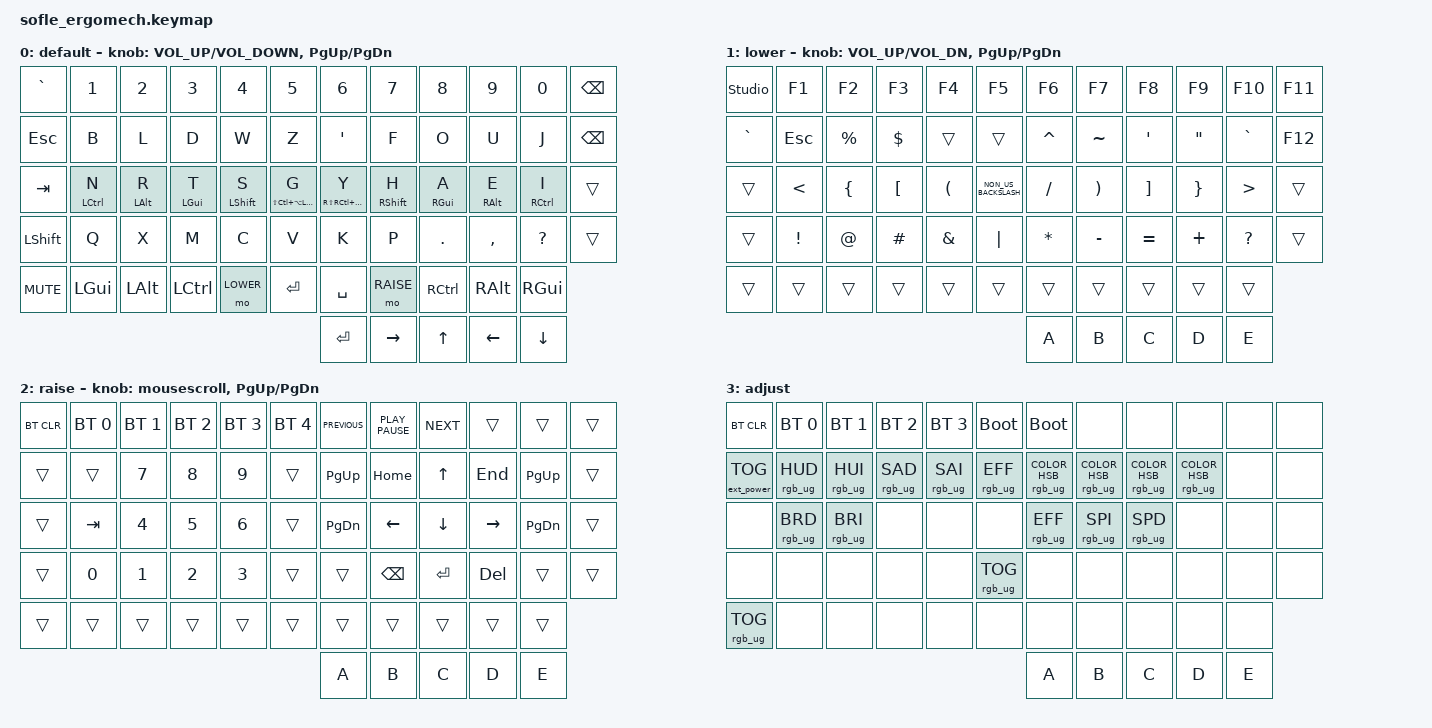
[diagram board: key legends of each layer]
/*
 * Copyright (c) 2020 The ZMK Contributors
 *
 * SPDX-License-Identifier: MIT
 */

#define ZMK_POINTING_DEFAULT_SCRL_VAL 300

#include <behaviors.dtsi>
#include <dt-bindings/zmk/bt.h>
#include <dt-bindings/zmk/ext_power.h>
#include <dt-bindings/zmk/keys.h>
#include <dt-bindings/zmk/pointing.h>
#include <dt-bindings/zmk/rgb.h>

#define BASE 0
#define LOWER 1
#define RAISE 2
#define ADJUST 3

/ {
    // Activate ADJUST layer by pressing raise and lower

    conditional_layers {
        compatible = "zmk,conditional-layers";

        adjust_layer {
            if-layers = <LOWER RAISE>;
            then-layer = <ADJUST>;
        };
    };

    behaviors {
        mousescroll: mousescroll {
            compatible = "zmk,behavior-sensor-rotate";
            #sensor-binding-cells = <0>;
            bindings = <&msc SCRL_UP>, <&msc SCRL_DOWN>;

            tap-ms = <20>;
        };

        hml: homerow_mods_left {
            compatible = "zmk,behavior-hold-tap";
            #binding-cells = <2>;
            flavor = "balanced";
            tapping-term-ms = <300>;
            quick-tap-ms = <175>;
            bindings = <&kp>, <&kp>;

            hold-trigger-key-positions = <6 7 8 9 10 11 18 19 20 21 22 23 30 31 32 33 34 35 42 43 44 45 46 47 48 49 50 51 52 53 54 55 56 57 58 59 60 61 62 63>;
            hold-trigger-on-release;
        };

        hmr: homerow_mods_right {
            compatible = "zmk,behavior-hold-tap";
            #binding-cells = <2>;
            flavor = "balanced";
            tapping-term-ms = <300>;
            quick-tap-ms = <175>;
            bindings = <&kp>, <&kp>;

            hold-trigger-key-positions = <0 1 2 3 4 5 12 13 14 15 16 17 24 25 26 27 28 29 36 37 38 39 40 41 48 49 50 51 52 53 54 55 56 57 58 59 60 61 62 63>;
            hold-trigger-on-release;
        };
    };

    keymap {
        compatible = "zmk,keymap";

        default_layer {
            label = "default";

            // ------------------------------------------------------------------------------------------------------------
            // |   `   |  1  |  2  |  3   |  4   |  5   |                   |  6   |  7    |  8    |  9   |   0   |       |
            // |  ESC  |  Q  |  W  |  E   |  R   |  T   |                   |  Y   |  U    |  I    |  O   |   P   | BKSPC |
            // |  TAB  |  A  |  S  |  D   |  F   |  G   |                   |  H   |  J    |  K    |  L   |   ;   |   '   |
            // | SHIFT |  Z  |  X  |  C   |  V   |  B   |  MUTE  |  |       |  N   |  M    |  ,    |  .   |   /   | SHIFT |
            //               | GUI | ALT  | CTRL | LOWER|  ENTER |  | SPACE | RAISE| CTRL  | ALT   | GUI  |

            bindings = <
&kp GRAVE   &kp N1        &kp N2       &kp N3       &kp N4        &kp N5                   &kp N6                   &kp N7        &kp N8       &kp N9       &kp N0        &kp BACKSPACE
&kp ESC     &kp B         &kp L        &kp D        &kp W         &kp Z                    &kp SINGLE_QUOTE         &kp F         &kp O        &kp U        &kp J         &kp BACKSPACE
&kp TAB     &hml LCTRL N  &hml LALT R  &hml LGUI T  &hml LSHFT S  &hml LS(LC(LA(LGUI))) G  &hmr RS(RC(RA(RGUI))) Y  &hmr RSHFT H  &hmr RGUI A  &hmr RALT E  &hmr RCTRL I  &trans
&kp LSHFT   &kp Q         &kp X        &kp M        &kp C         &kp V                    &kp K                    &kp P         &kp PERIOD   &kp COMMA    &kp QUESTION  &trans
&kp C_MUTE  &kp LGUI      &kp LALT     &kp LCTRL    &mo LOWER     &kp RET                  &kp SPACE                &mo RAISE     &kp RCTRL    &kp RALT     &kp RGUI
                                                                                           &kp ENTER                &kp RIGHT     &kp UP       &kp LEFT     &kp DOWN
            >;

            sensor-bindings =
                <&inc_dec_kp C_VOLUME_UP C_VOLUME_DOWN>,
                <&inc_dec_kp PG_UP PG_DN>;
        };

        lower_layer {
            label = "lower";

            // TODO: Some binds are waiting for shifted keycode support.
            // ------------------------------------------------------------------------------------------------------------
            // |       |  F1 |  F2 |  F3  |  F4  |  F5  |                   |  F6  |  F7   |  F8   |  F9  |  F10  |  F11  |
            // |   `   |  1  |  2  |  3   |  4   |  5   |                   |  6   |  7    |  8    |  9   |   0   |  F12  |
            // |       |  !  |  @  |  #   |  $   |  %   |                   |  ^   |  &    |  *    |  (   |   )   |   |   |
            // |       |  =  |  -  |  +   |  {   |  }   |        |  |       |  [   |  ]    |  ;    |  :   |   \   |       |
            //               |     |      |      |      |        |  |       |      |       |       |      |

            bindings = <
&studio_unlock  &kp F1           &kp F2          &kp F3            &kp F4                &kp F5                &kp F6        &kp F7                 &kp F8             &kp F9             &kp F10           &kp F11
&kp GRAVE       &kp ESCAPE       &kp PERCENT     &kp DOLLAR        &trans                &trans                &kp CARET     &kp TILDE              &kp SQT            &kp DOUBLE_QUOTES  &kp GRAVE         &kp F12
&trans          &kp LESS_THAN    &kp LEFT_BRACE  &kp LEFT_BRACKET  &kp LEFT_PARENTHESIS  &kp NON_US_BACKSLASH  &kp SLASH     &kp RIGHT_PARENTHESIS  &kp RIGHT_BRACKET  &kp RIGHT_BRACE    &kp GREATER_THAN  &trans
&trans          &kp EXCLAMATION  &kp AT_SIGN     &kp HASH          &kp AMPERSAND         &kp PIPE              &kp ASTERISK  &kp MINUS              &kp EQUAL          &kp PLUS           &kp QUESTION      &trans
&trans          &trans           &trans          &trans            &trans                &trans                &trans        &trans                 &trans             &trans             &trans
                                                                                                               &kp A         &kp B                  &kp C              &kp D              &kp E
            >;

            sensor-bindings = <&inc_dec_kp C_VOL_UP C_VOL_DN &inc_dec_kp PG_UP PG_DN>;
        };

        raise_layer {
            label = "raise";

            // ------------------------------------------------------------------------------------------------------------
            // | BTCLR | BT1  | BT2  |  BT3  |  BT4  |  BT5 |                |      |      |       |      |       |       |
            // |       | INS  | PSCR | GUI   |       |      |                | PGUP |      |   ^   |      |       |       |
            // |       | ALT  | CTRL | SHIFT |       | CAPS |                | PGDN |   <- |   v   |  ->  |  DEL  | BKSPC |
            // |       | UNDO | CUT  | COPY  | PASTE |      |      |  |      |      |      |       |      |       |       |
            //                |      |       |       |      |      |  |      |      |      |       |      |

            bindings = <
&bt BT_CLR  &bt BT_SEL 0  &bt BT_SEL 1  &bt BT_SEL 2  &bt BT_SEL 3  &bt BT_SEL 4  &kp K_PREVIOUS  &kp K_PLAY_PAUSE  &kp K_NEXT  &trans      &trans         &trans
&trans      &trans        &kp NUMBER_7  &kp NUMBER_8  &kp NUMBER_9  &trans        &kp PG_UP       &kp HOME          &kp UP      &kp END     &kp PAGE_UP    &trans
&trans      &kp TAB       &kp NUMBER_4  &kp NUMBER_5  &kp NUMBER_6  &trans        &kp PG_DN       &kp LEFT          &kp DOWN    &kp RIGHT   &kp PAGE_DOWN  &trans
&trans      &kp NUMBER_0  &kp NUMBER_1  &kp NUMBER_2  &kp NUMBER_3  &trans        &trans          &kp BACKSPACE     &kp ENTER   &kp DELETE  &trans         &trans
&trans      &trans        &trans        &trans        &trans        &trans        &trans          &trans            &trans      &trans      &trans
                                                                                  &kp A           &kp B             &kp C       &kp D       &kp E
            >;

            sensor-bindings = <&mousescroll>, <&inc_dec_kp PG_UP PG_DN>;
        };

        adjust_layer {
            // ----------------------------------------------------------------------------------------------------------------------------
            // | BTCLR  |  BT1    |  BT2    |   BT3   |   BT4   |   BT5   |                  |      |      |       |      |       |       |
            // | EXTPWR | RGB_HUD | RGB_HUI | RGB_SAD | RGB_SAI | RGB_EFF |                  |      |      |       |      |       |       |
            // |        | RGB_BRD | RGB_BRI |         |         |         |                  |      |      |       |      |       |       |
            // |        |         |         |         |         |         | RGB_TOG | |      |      |      |       |      |       |       |
            //                    |         |         |         |         |         | |      |      |      |       |      |

            label = "adjust";
            bindings = <
&bt BT_CLR         &bt BT_SEL 0     &bt BT_SEL 1     &bt BT_SEL 2     &bt BT_SEL 3     &bootloader      &bootloader                        &none                              &none                          &none                            &none  &none
&ext_power EP_TOG  &rgb_ug RGB_HUD  &rgb_ug RGB_HUI  &rgb_ug RGB_SAD  &rgb_ug RGB_SAI  &rgb_ug RGB_EFF  &rgb_ug RGB_COLOR_HSB(270,100,50)  &rgb_ug RGB_COLOR_HSB(180,100,50)  &rgb_ug RGB_COLOR_HSB(0,0,50)  &rgb_ug RGB_COLOR_HSB(0,100,50)  &none  &none
&none              &rgb_ug RGB_BRD  &rgb_ug RGB_BRI  &none            &none            &none            &rgb_ug RGB_EFF                    &rgb_ug RGB_SPI                    &rgb_ug RGB_SPD                &none                            &none  &none
&none              &none            &none            &none            &none            &rgb_ug RGB_TOG  &none                              &none                              &none                          &none                            &none  &none
&rgb_ug RGB_TOG    &none            &none            &none            &none            &none            &none                              &none                              &none                          &none                            &none
                                                                                                        &kp A                              &kp B                              &kp C                          &kp D                            &kp E
            >;
        };
    };
};
